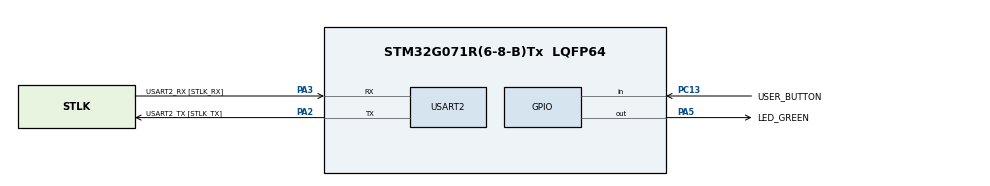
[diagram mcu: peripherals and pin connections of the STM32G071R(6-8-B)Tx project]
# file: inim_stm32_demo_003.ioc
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Mcu.Family=STM32G0
PA2.GPIO_PuPd=GPIO_PULLUP
FREERTOS.Queues01=charQueue,1,uint8_t,0,Static,charQueueBuffer,charQueueControlBlock
RCC.CortexFreq_Value=16000000
PA14-BOOT0.GPIO_Label=TCK
FREERTOS.Tasks01=defaultTask,0,128,StartDefaultTask,Default,NULL,Static,defaultTaskBuffer,defaultTaskControlBlock;producer,-1,128,StartProducer,Default,NULL,Static,producerBuffer,producerControlBlock;consumer,1,128,StartConsumer,Default,NULL,Static,consumerBuffer,consumerControlBlock
VP_SYS_VS_tim17.Mode=TIM17
PC13.Signal=GPIO_Input
PA3.GPIO_PuPd=GPIO_PULLUP
PA14-BOOT0.Mode=Serial_Wire
RCC.EXTERNAL_CLOCK_VALUE=12288000
PC15-OSC32_OUT\ (PC15).Signal=RCC_OSC32_OUT
PC15-OSC32_OUT\ (PC15).Mode=LSE-External-Oscillator
PC13.GPIO_Label=USER_BUTTON
PF0-OSC_IN\ (PF0).GPIO_Label=MCO
PF0-OSC_IN\ (PF0).Signal=RCC_OSC_IN
ProjectManager.StackSize=0x400
PC14-OSC32_IN\ (PC14).Mode=LSE-External-Oscillator
PF0-OSC_IN\ (PF0).Mode=HSE-External-Clock-Source
PA3.Mode=Asynchronous
PA13.Signal=SYS_SWDIO
ProjectManager.TargetToolchain=STM32CubeIDE
NVIC.TIM17_IRQn=true\:0\:0\:false\:false\:true\:false\:false\:true
RCC.HCLKFreq_Value=16000000
RCC.AHBFreq_Value=16000000
PA14-BOOT0.Signal=SYS_SWCLK
PA5.Signal=GPIO_Output
RCC.HSE_VALUE=8000000
FREERTOS.MEMORY_ALLOCATION=1
board=NUCLEO-G071RB
USART2.VirtualMode-Asynchronous=VM_ASYNC
RCC.VCOOutputFreq_Value=128000000
FREERTOS.configENABLE_BACKWARD_COMPATIBILITY=0
VP_SYS_VS_DBSignals.Mode=DisableDeadBatterySignals
VP_FREERTOS_VS_CMSIS_V1.Mode=CMSIS_V1
PA13.Mode=Serial_Wire
Mcu.Name=STM32G071R(6-8-B)Tx
PA2.Signal=USART2_TX
PA13.GPIO_Label=TMS
RCC.SYSCLKFreq_VALUE=16000000
Mcu.Package=LQFP64
NVIC.TimeBase=TIM17_IRQn
PA5.GPIO_Label=LED_GREEN
PC14-OSC32_IN\ (PC14).Signal=RCC_OSC32_IN
PA2.GPIO_Label=USART2_TX [STLK_TX]
NVIC.TimeBaseIP=TIM17
ProjectManager.HeapSize=0x200
RCC.HSI_VALUE=16000000
FREERTOS.Mutexes01=sharedMemMutex,Static,sharedMemMutexControlBlock
PA5.GPIO_Speed=GPIO_SPEED_FREQ_HIGH
PA2.Mode=Asynchronous
PA3.GPIO_Label=USART2_RX [STLK_RX]
PA3.Signal=USART2_RX

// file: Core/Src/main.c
/* USER CODE BEGIN Header */
/**
  ******************************************************************************
  * @file           : main.c
  * @brief          : Main program body
  ******************************************************************************
  * @attention
  *
  * <h2><center>&copy; Copyright (c) 2021 STMicroelectronics.
  * All rights reserved.</center></h2>
  *
  * This software component is licensed by ST under BSD 3-Clause license,
  * the "License"; You may not use this file except in compliance with the
  * License. You may obtain a copy of the License at:
  *                        opensource.org/licenses/BSD-3-Clause
  *
  ******************************************************************************
  */
/* USER CODE END Header */
#include "main.h"
#include "cmsis_os.h"
#include "usart.h"
#include "gpio.h"

/* USER CODE BEGIN Includes */
#include "string.h"
/* USER CODE END Includes */

void SystemClock_Config(void);
void MX_FREERTOS_Init(void);

/* USER CODE BEGIN 0 */
const uint8_t __USED __attribute__((section(".flash2_sect1"))) var_in_flash2_sect1[8] = "123star";
const uint8_t __USED __attribute__((section(".flash2_sect2"))) var_in_flash2_sect2[8] = "123star";
const uint8_t __USED __attribute__((section(".flash2_sect3"))) var_in_flash2_sect3[8] = "123star";
const uint8_t __USED __attribute__((section(".flash2_sect4"))) var_in_flash2_sect4[8] = "123star";

__IO uint8_t __USED __attribute__((section(".ram2_sect1"))) var_in_ram2_sect1[8] = "ram_var";
__IO uint8_t __USED __attribute__((section(".ram2_sect2"))) var_in_ram2_sect2[8] = "ram_var";
__IO uint8_t __USED __attribute__((section(".ram2_sect3"))) var_in_ram2_sect3[8] = "ram_var";
__IO uint8_t __USED __attribute__((section(".ram2_sect4"))) var_in_ram2_sect4[8] = "ram_var";

volatile uint8_t cache[1024];
/* USER CODE END 0 */

int main(void)
{

  /* MCU Configuration--------------------------------------------------------*/

  /* Reset of all peripherals, Initializes the Flash interface and the Systick. */
  HAL_Init();

  /* Configure the system clock */
  SystemClock_Config();

  /* Initialize all configured peripherals */
  MX_GPIO_Init();
  MX_USART2_UART_Init();
  /* USER CODE BEGIN 2 */
  memcpy((uint8_t*)&cache[0], (uint8_t*)&var_in_flash2_sect1[0], 8);
  memcpy((uint8_t*)&cache[0], (uint8_t*)&var_in_flash2_sect2[0], 8);
  memcpy((uint8_t*)&cache[0], (uint8_t*)&var_in_flash2_sect3[0], 8);
  memcpy((uint8_t*)&cache[0], (uint8_t*)&var_in_flash2_sect4[0], 8);

  memcpy((uint8_t*)&var_in_ram2_sect1[0], (uint8_t*)&var_in_flash2_sect1[0], 8);
  memcpy((uint8_t*)&var_in_ram2_sect2[0], (uint8_t*)&var_in_flash2_sect2[0], 8);
  memcpy((uint8_t*)&var_in_ram2_sect3[0], (uint8_t*)&var_in_flash2_sect3[0], 8);
  memcpy((uint8_t*)&var_in_ram2_sect4[0], (uint8_t*)&var_in_flash2_sect4[0], 8);

  memset((uint8_t*)&cache[0], 0xA5, 128);
  memcpy((uint8_t*)&var_in_ram2_sect4[0], (uint8_t*)&cache[0], 8);
  /* USER CODE END 2 */

  /* Call init function for freertos objects (in freertos.c) */
  MX_FREERTOS_Init();
  /* Start scheduler */
  osKernelStart();

  /* We should never get here as control is now taken by the scheduler */
  /* Infinite loop */
  while (1)
  {

  }
}

void SystemClock_Config(void)
{
  /* HSI configuration and activation */
  LL_RCC_HSI_Enable();
  while(LL_RCC_HSI_IsReady() != 1)
  {
  }

  /* Set AHB prescaler*/
  LL_RCC_SetAHBPrescaler(LL_RCC_SYSCLK_DIV_1);

  /* Sysclk activation on the HSI */
  LL_RCC_SetSysClkSource(LL_RCC_SYS_CLKSOURCE_HSI);
  while(LL_RCC_GetSysClkSource() != LL_RCC_SYS_CLKSOURCE_STATUS_HSI)
  {
  }

  /* Set APB1 prescaler*/
  LL_RCC_SetAPB1Prescaler(LL_RCC_APB1_DIV_1);

   /* Update the time base */
  if (HAL_InitTick (TICK_INT_PRIORITY) != HAL_OK)
  {
    Error_Handler();
  }
  /* Update CMSIS variable (which can be updated also through SystemCoreClockUpdate function) */
  LL_SetSystemCoreClock(16000000);
  LL_RCC_SetUSARTClockSource(LL_RCC_USART2_CLKSOURCE_PCLK1);
}

 /**
  * @brief  Period elapsed callback in non blocking mode
  * @note   This function is called  when TIM17 interrupt took place, inside
  * HAL_TIM_IRQHandler(). It makes a direct call to HAL_IncTick() to increment
  * a global variable "uwTick" used as application time base.
  * @param  htim : TIM handle
  * @retval None
  */
void HAL_TIM_PeriodElapsedCallback(TIM_HandleTypeDef *htim)
{
  if (htim->Instance == TIM17) {
    HAL_IncTick();
  }
}

void Error_Handler(void)
{
  __disable_irq();
  while (1)
  {
  }
}

/************************ (C) COPYRIGHT STMicroelectronics *****END OF FILE****/

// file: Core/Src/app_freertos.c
/* USER CODE BEGIN Header */
/**
  ******************************************************************************
  * File Name          : app_freertos.c
  * Description        : Code for freertos applications
  ******************************************************************************
  * @attention
  *
  * <h2><center>&copy; Copyright (c) 2021 STMicroelectronics.
  * All rights reserved.</center></h2>
  *
  * This software component is licensed by ST under Ultimate Liberty license
  * SLA0044, the "License"; You may not use this file except in compliance with
  * the License. You may obtain a copy of the License at:
  *                             www.st.com/SLA0044
  *
  ******************************************************************************
  */
/* USER CODE END Header */

#include "FreeRTOS.h"
#include "task.h"
#include "main.h"
#include "cmsis_os.h"

/* USER CODE BEGIN Includes */
#include "string.h"
/* USER CODE END Includes */

/* USER CODE BEGIN Variables */
const uint8_t phrase[12] = "Ciao Mondo!";
const uint8_t test_send_string[128] = "Questa stringa viene usata per vedere come funziona il sincronismo tra task.\r\n";
char shared_mem;

/* USER CODE END Variables */
osThreadId defaultTaskHandle;
uint32_t defaultTaskBuffer[ 128 ];
osStaticThreadDef_t defaultTaskControlBlock;
osThreadId producerHandle;
uint32_t producerBuffer[ 128 ];
osStaticThreadDef_t producerControlBlock;
osThreadId consumerHandle;
uint32_t consumerBuffer[ 128 ];
osStaticThreadDef_t consumerControlBlock;
osMessageQId charQueueHandle;
uint8_t charQueueBuffer[ 1 * sizeof( uint8_t ) ];
osStaticMessageQDef_t charQueueControlBlock;
osMutexId sharedMemMutexHandle;
osStaticMutexDef_t sharedMemMutexControlBlock;

void StartDefaultTask(void const * argument);
void StartProducer(void const * argument);
void StartConsumer(void const * argument);

void MX_FREERTOS_Init(void); /* (MISRA C 2004 rule 8.1) */

/* GetIdleTaskMemory prototype (linked to static allocation support) */
void vApplicationGetIdleTaskMemory( StaticTask_t **ppxIdleTaskTCBBuffer, StackType_t **ppxIdleTaskStackBuffer, uint32_t *pulIdleTaskStackSize );

/* USER CODE BEGIN GET_IDLE_TASK_MEMORY */
static StaticTask_t xIdleTaskTCBBuffer;
static StackType_t xIdleStack[configMINIMAL_STACK_SIZE];

void vApplicationGetIdleTaskMemory( StaticTask_t **ppxIdleTaskTCBBuffer, StackType_t **ppxIdleTaskStackBuffer, uint32_t *pulIdleTaskStackSize )
{
  *ppxIdleTaskTCBBuffer = &xIdleTaskTCBBuffer;
  *ppxIdleTaskStackBuffer = &xIdleStack[0];
  *pulIdleTaskStackSize = configMINIMAL_STACK_SIZE;
  /* place for user code */
}
/* USER CODE END GET_IDLE_TASK_MEMORY */

void MX_FREERTOS_Init(void) {
  /* Create the mutex(es) */
  /* definition and creation of sharedMemMutex */
  osMutexStaticDef(sharedMemMutex, &sharedMemMutexControlBlock);
  sharedMemMutexHandle = osMutexCreate(osMutex(sharedMemMutex));

  /* Create the queue(s) */
  /* definition and creation of charQueue */
  osMessageQStaticDef(charQueue, 1, uint8_t, charQueueBuffer, &charQueueControlBlock);
  charQueueHandle = osMessageCreate(osMessageQ(charQueue), NULL);

  /* Create the thread(s) */
  /* definition and creation of defaultTask */
  osThreadStaticDef(defaultTask, StartDefaultTask, osPriorityNormal, 0, 128, defaultTaskBuffer, &defaultTaskControlBlock);
  defaultTaskHandle = osThreadCreate(osThread(defaultTask), NULL);

  /* definition and creation of producer */
  osThreadStaticDef(producer, StartProducer, osPriorityBelowNormal, 0, 128, producerBuffer, &producerControlBlock);
  producerHandle = osThreadCreate(osThread(producer), NULL);

  /* definition and creation of consumer */
  osThreadStaticDef(consumer, StartConsumer, osPriorityAboveNormal, 0, 128, consumerBuffer, &consumerControlBlock);
  consumerHandle = osThreadCreate(osThread(consumer), NULL);

}

void StartDefaultTask(void const * argument)
{
  /* USER CODE BEGIN StartDefaultTask */
	/* Infinite loop */
	int i;
	for(;;)
	{
		osDelay(1000);
		LL_GPIO_TogglePin(LED_GREEN_GPIO_Port, LED_GREEN_Pin);
		for (i=0; i<sizeof(phrase)-1; i++) {
			//    	while (!LL_USART_IsActiveFlag_TXE(USART1));
			//    	LL_USART_TransmitData8(USART1, phrase[i]);
		}
	}
  /* USER CODE END StartDefaultTask */
}

void StartProducer(void const * argument)
{
  /* USER CODE BEGIN StartProducer */
//#define USE_NO_CONTROLS
//#define USE_MUTEX
//#define USE_MUTEX_AND_GLOBAL_MEM_CONDITION
//#define USE_MUTEX_AND_QUEUE
	/* Infinite loop */
	int k;
	char* p;

#ifdef USE_NO_CONTROLS
	for(;;)
	{
		osDelay(1);
		k = strlen((const char *)test_send_string);
		p = (char *)&test_send_string[0];
		while(k) {
			shared_mem = *p;
			p++;
			k--;
			osDelay(1);
		}
	}
#endif

#ifdef USE_MUTEX
	for(;;)
	{
		osDelay(1);
		k = strlen((const char *)test_send_string);
		p = (char *)&test_send_string[0];
		while(k) {
			if (osOK == osMutexWait(sharedMemMutexHandle, portMAX_DELAY)) {
				shared_mem = *p;
				p++;
				k--;
				osMutexRelease(sharedMemMutexHandle);
			}
			osDelay(1);
		}
	}
#endif

#ifdef USE_MUTEX_AND_GLOBAL_MEM_CONDITION
	shared_mem = 0x00;
	for(;;)
	{
		osDelay(1);
		k = strlen((const char *)test_send_string);
		p = (char *)&test_send_string[0];
		while(k) {
			if (osOK == osMutexWait(sharedMemMutexHandle, portMAX_DELAY)) {
				if (shared_mem == 0x00) {
					shared_mem = *p;
					p++;
					k--;
				}
				osMutexRelease(sharedMemMutexHandle);
			}
			osDelay(10);
		}
	}
#endif

#ifdef USE_MUTEX_AND_QUEUE
	for(;;)
	{
		osDelay(1);
		k = strlen((const char *)test_send_string);
		p = (char *)&test_send_string[0];
		while(k) {
			if (osOK == osMutexWait(sharedMemMutexHandle, portMAX_DELAY)) {
				//			shared_mem = *p;
				if (osOK == osMessagePut(charQueueHandle, *p, 0)) {
					p++;
					k--;
				}
				osMutexRelease(sharedMemMutexHandle);
			}
			osDelay(1);
		}
	}
#endif
  /* USER CODE END StartProducer */
}

void StartConsumer(void const * argument)
{
  /* USER CODE BEGIN StartConsumer */
	/* Infinite loop */
#ifdef USE_NO_CONTROLS
	for(;;)
	{
		osDelay(10);
		LL_USART_TransmitData8(USART1, shared_mem);
	}
#endif

#ifdef USE_MUTEX
	for(;;)
	{
		osDelay(10);
		if (osOK == osMutexWait(sharedMemMutexHandle, portMAX_DELAY)) {
			LL_USART_TransmitData8(USART1, shared_mem);
			osMutexRelease(sharedMemMutexHandle);
		}
	}
#endif

#ifdef USE_MUTEX_AND_GLOBAL_MEM_CONDITION
	for(;;)
	{
		osDelay(1);
		if (shared_mem) {
			if (osOK == osMutexWait(sharedMemMutexHandle, portMAX_DELAY)) {
				LL_USART_TransmitData8(USART1, shared_mem);
				shared_mem = 0x00;
				osMutexRelease(sharedMemMutexHandle);
			}
		}
	}
#endif

#ifdef USE_MUTEX_AND_QUEUE
	osEvent ev;
	for(;;)
	{
		osDelay(10);
		if (osOK == osMutexWait(sharedMemMutexHandle, portMAX_DELAY)) {
			ev = osMessageGet(charQueueHandle, 0);
			if (osEventMessage == ev.status) {
				LL_USART_TransmitData8(USART1, ev.value.v);
			}
			osMutexRelease(sharedMemMutexHandle);
		}
	}
#endif
  /* USER CODE END StartConsumer */
}

/************************ (C) COPYRIGHT STMicroelectronics *****END OF FILE****/
